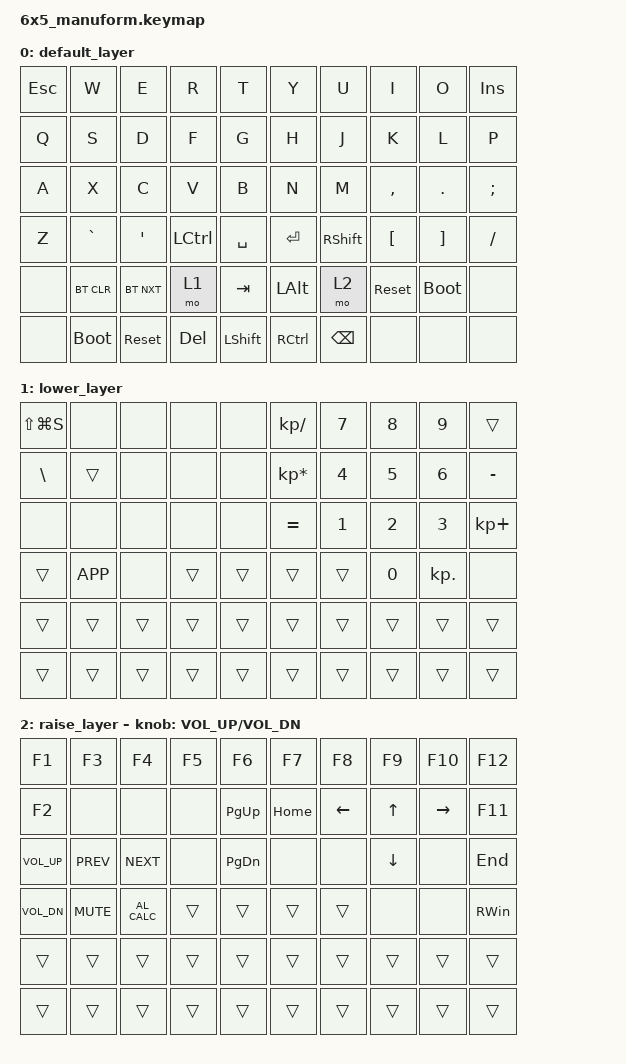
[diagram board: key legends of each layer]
/*
 * Copyright (c) 2020 The ZMK Contributors
 *
 * SPDX-License-Identifier: MIT
 */

#include <behaviors.dtsi>
#include <dt-bindings/zmk/bt.h>
#include <dt-bindings/zmk/keys.h>

/ {
    keymap {
        compatible = "zmk,keymap";

        default_layer {
            // ------------------------------------------------------------------------------------------------------------
            // |  ESC  |  1  |  2  |  3   |  4   |  5   |                    |  6   |  7    |  8    |  9   |   0   |   `   |
            // |  TAB  |  A  |  S  |  S   |  R   |  T   |                    |  Y   |  U    |  I    |  O   |   P   |   -   |
            // |  CTRL |  A  |  S  |  D   |  F   |  G   |                    |  H   |  J    |  K    |  L   |   ;   |   '   |
            // | SHIFT |  Z  |  X  |  C   |  V   |  B   |   "["  |   |  "]"  |  N   |  M    |  ,    |  .   |   /   | SHIFT |
            //                     | ALT  | GUI  | LOWER|  SPACE |   | ENTER | RAISE| BSPC  | GUI   |

            bindings = <
&kp ESC  &kp W        &kp E       &kp R      &kp T        &kp Y      &kp U       &kp I             &kp O              &kp INS
&kp Q    &kp S        &kp D       &kp F      &kp G        &kp H      &kp J       &kp K             &kp L              &kp P
&kp A    &kp X        &kp C       &kp V      &kp B        &kp N      &kp M       &kp COMMA         &kp PERIOD         &kp SEMICOLON
&kp Z    &kp GRAVE    &kp SQT     &kp LCTRL  &kp SPACE    &kp ENTER  &kp RSHIFT  &kp LEFT_BRACKET  &kp RIGHT_BRACKET  &kp SLASH
&none    &bt BT_CLR   &bt BT_NXT  &mo 1      &kp TAB      &kp LALT   &mo 2       &sys_reset        &bootloader        &none
&none    &bootloader  &sys_reset  &kp DEL    &kp LSHFT    &kp RCTRL  &kp BSPC    &none             &none              &none
            >;
        };

        lower_layer {
            // ------------------------------------------------------------------------------------------------------------
            // | BTCLR | BT1 | BT2 |  BT3 |  BT4 |  BT5 |                   |      |       |       |      |       |       |
            // |  F1   |  F2 |  F3 |  F4  |  F5  |  F6  |                   |  F7  |  F8   |  F9   |  F10 |  F11  |  F12  |
            // |   `   |  !  |  @  |  #   |  $   |  %   |                   |  ^   |  &    |  *    |  (   |   )   |   ~   |
            // |       |     |     |      |      |      |        |  |       |      |  _    |  +    |  {   |   }   |  "|"  |
            //                     |      |      |      |        |  |       |      |       |       |

            bindings = <
&kp LS(LG(S))  &none      &none   &none   &none     &kp KP_SLASH     &kp N7        &kp N8        &kp N9        &trans
&kp BSLH       &trans     &none   &none   &none     &kp KP_MULTIPLY  &kp NUMBER_4  &kp N5        &kp NUMBER_6  &kp MINUS
&none          &none      &none   &none   &none     &kp EQUAL        &kp NUMBER_1  &kp NUMBER_2  &kp NUMBER_3  &kp KP_PLUS
&trans         &kp K_APP  &none   &trans  &trans    &trans           &trans        &kp N0        &kp KP_DOT    &none
&trans         &trans     &trans  &trans  &trans    &trans           &trans        &trans        &trans        &trans
&trans         &trans     &trans  &trans  &trans    &trans           &trans        &trans        &trans        &trans
            >;
        };

        raise_layer {
            // ------------------------------------------------------------------------------------------------------------
            // |       |     |     |      |      |      |                   |      |       |       |      |       |       |
            // |   `   |  1  |  2  |  3   |  4   |  5   |                   |  6   |   7   |   8   |  9   |   0   |       |
            // |   F1  |  F2 |  F3 |  F4  |  F5  |  F6  |                   |      |   <-  |   v   |  ^   |  ->   |       |
            // |   F7  |  F8 |  F9 |  F10 |  F11 |  F12 |        |  |       |  +   |   -   |   =   |  [   |   ]   |   \   |
            //                     |      |      |      |        |  |       |      |       |       |

            bindings = <
&kp F1        &kp F3      &kp F4         &kp F5  &kp F6       &kp F7    &kp F8          &kp F9          &kp F10          &kp F12
&kp F2        &none       &none          &none   &kp PG_UP    &kp HOME  &kp LEFT_ARROW  &kp UP_ARROW    &kp RIGHT_ARROW  &kp F11
&kp C_VOL_UP  &kp C_PREV  &kp C_NEXT     &none   &kp PG_DN    &none     &none           &kp DOWN_ARROW  &none            &kp END
&kp C_VOL_DN  &kp C_MUTE  &kp C_AL_CALC  &trans  &trans       &trans    &trans          &none           &none            &kp RIGHT_WIN
&trans        &trans      &trans         &trans  &trans       &trans    &trans          &trans          &trans           &trans
&trans        &trans      &trans         &trans  &trans       &trans    &trans          &trans          &trans           &trans
            >;

            sensor-bindings = <&inc_dec_kp C_VOL_UP C_VOL_DN>;
        };
    };
};
